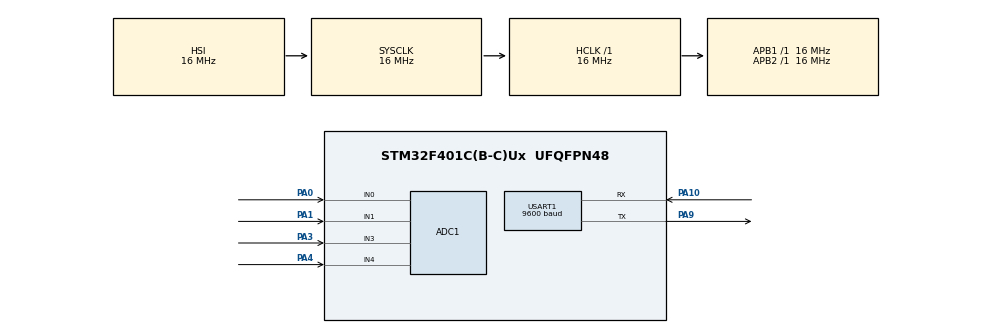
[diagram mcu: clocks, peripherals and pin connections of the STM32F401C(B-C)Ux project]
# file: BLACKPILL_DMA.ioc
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ADC1.Channel-0\#ChannelRegularConversion=ADC_CHANNEL_0
ADC1.Channel-1\#ChannelRegularConversion=ADC_CHANNEL_1
ADC1.Channel-2\#ChannelRegularConversion=ADC_CHANNEL_3
ADC1.Channel-3\#ChannelRegularConversion=ADC_CHANNEL_4
ADC1.NbrOfConversion=4
ADC1.NbrOfConversionFlag=1
ADC1.Rank-0\#ChannelRegularConversion=1
ADC1.Rank-1\#ChannelRegularConversion=2
ADC1.Rank-2\#ChannelRegularConversion=3
ADC1.Rank-3\#ChannelRegularConversion=4
ADC1.SamplingTime-0\#ChannelRegularConversion=ADC_SAMPLETIME_3CYCLES
ADC1.SamplingTime-1\#ChannelRegularConversion=ADC_SAMPLETIME_3CYCLES
ADC1.SamplingTime-2\#ChannelRegularConversion=ADC_SAMPLETIME_3CYCLES
ADC1.SamplingTime-3\#ChannelRegularConversion=ADC_SAMPLETIME_3CYCLES
ADC1.master=1
Dma.ADC1.0.Direction=DMA_PERIPH_TO_MEMORY
Dma.ADC1.0.FIFOMode=DMA_FIFOMODE_DISABLE
Dma.ADC1.0.Instance=DMA2_Stream0
Dma.ADC1.0.MemDataAlignment=DMA_MDATAALIGN_HALFWORD
Dma.ADC1.0.MemInc=DMA_MINC_ENABLE
Dma.ADC1.0.Mode=DMA_CIRCULAR
Dma.ADC1.0.PeriphDataAlignment=DMA_PDATAALIGN_HALFWORD
Dma.ADC1.0.PeriphInc=DMA_PINC_DISABLE
Dma.ADC1.0.Priority=DMA_PRIORITY_LOW
Dma.Request0=ADC1
Mcu.Family=STM32F4
Mcu.Name=STM32F401C(B-C)Ux
Mcu.Package=UFQFPN48
NVIC.DMA2_Stream0_IRQn=true\:0\:0\:false\:false\:true\:false\:true\:true
NVIC.PriorityGroup=NVIC_PRIORITYGROUP_4
PA0-WKUP.Signal=ADCx_IN0
PA1.Signal=ADCx_IN1
PA10.Mode=Asynchronous
PA10.Signal=USART1_RX
PA3.Signal=ADCx_IN3
PA4.Signal=ADCx_IN4
PA9.Mode=Asynchronous
PA9.Signal=USART1_TX
ProjectManager.HeapSize=0x200
ProjectManager.StackSize=0x400
ProjectManager.TargetToolchain=STM32CubeIDE
RCC.AHBFreq_Value=16000000
RCC.APB1Freq_Value=16000000
RCC.APB2Freq_Value=16000000
RCC.CortexFreq_Value=16000000
RCC.HSE_VALUE=25000000
RCC.HSI_VALUE=16000000
RCC.LSE_VALUE=32768
RCC.SYSCLKFreq_VALUE=16000000
RCC.VCOOutputFreq_Value=192000000
SH.ADCx_IN0.0=ADC1_IN0,IN0
SH.ADCx_IN1.0=ADC1_IN1,IN1
SH.ADCx_IN3.0=ADC1_IN3,IN3
SH.ADCx_IN4.0=ADC1_IN4,IN4
USART1.BaudRate=9600
USART1.VirtualMode=VM_ASYNC
board=custom

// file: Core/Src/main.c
/* USER CODE BEGIN Header */
/**
  ******************************************************************************
  * @file           : main.c
  * @brief          : Main program body
  ******************************************************************************
  * @attention
  *
  * Copyright (c) 2023 STMicroelectronics.
  * All rights reserved.
  *
  * This software is licensed under terms that can be found in the LICENSE file
  * in the root directory of this software component.
  * If no LICENSE file comes with this software, it is provided AS-IS.
  *
  ******************************************************************************
  */
/* USER CODE END Header */
#include "main.h"

/* USER CODE BEGIN Includes */
#include "delays.h"
#include "uart.h"

#include "stdio.h"
#include "string.h"

#include "stdint.h"

/* USER CODE END Includes */

ADC_HandleTypeDef hadc1;
DMA_HandleTypeDef hdma_adc1;

UART_HandleTypeDef huart1;

/* USER CODE BEGIN PV */

float voltaje1,voltaje2,voltaje3,voltaje4;
char texto[50];

//DMA ADC

uint16_t adc_buf[4];

/* USER CODE END PV */

void SystemClock_Config(void);
static void MX_GPIO_Init(void);
static void MX_DMA_Init(void);
static void MX_ADC1_Init(void);
static void MX_USART1_UART_Init(void);

int main(void)
{

  /* MCU Configuration--------------------------------------------------------*/

  /* Reset of all peripherals, Initializes the Flash interface and the Systick. */
  HAL_Init();

  /* Configure the system clock */
  SystemClock_Config();

  /* Initialize all configured peripherals */
  MX_GPIO_Init();
  MX_DMA_Init();
  MX_ADC1_Init();
  MX_USART1_UART_Init();
  /* USER CODE BEGIN 2 */
  delay_us_dwt_init();
     uartx_write_text(&huart1, "INICIANDO\r\n");

  /* USER CODE END 2 */

  /* Infinite loop */
  /* USER CODE BEGIN WHILE */
  while (1)
  {
	  HAL_ADC_Start_DMA(&hadc1, adc_buf, 4);//iniCica la conversion
	 HAL_Delay(10);

	 voltaje1=adc_buf[0]*3.3/4095.0;
	 voltaje2=adc_buf[1]*3.3/4095.0;
	 voltaje3=adc_buf[2]*3.3/4095.0;
	 voltaje4=adc_buf[3]*3.3/4095.0;

      sprintf(texto,"V1=%.1f    V2=%.1f  V3=%.1f   V4=%.2f\r\n\r\n",voltaje1,voltaje2,voltaje3,voltaje4);

      uartx_write_text(&huart1, texto);
    HAL_Delay(500);

    /* USER CODE END WHILE */

  }
}

void SystemClock_Config(void)
{
  RCC_OscInitTypeDef RCC_OscInitStruct = {0};
  RCC_ClkInitTypeDef RCC_ClkInitStruct = {0};

  /** Configure the main internal regulator output voltage
  */
  __HAL_RCC_PWR_CLK_ENABLE();
  __HAL_PWR_VOLTAGESCALING_CONFIG(PWR_REGULATOR_VOLTAGE_SCALE2);

  /** Initializes the RCC Oscillators according to the specified parameters
  * in the RCC_OscInitTypeDef structure.
  */
  RCC_OscInitStruct.OscillatorType = RCC_OSCILLATORTYPE_HSI;
  RCC_OscInitStruct.HSIState = RCC_HSI_ON;
  RCC_OscInitStruct.HSICalibrationValue = RCC_HSICALIBRATION_DEFAULT;
  RCC_OscInitStruct.PLL.PLLState = RCC_PLL_NONE;
  if (HAL_RCC_OscConfig(&RCC_OscInitStruct) != HAL_OK)
  {
    Error_Handler();
  }

  /** Initializes the CPU, AHB and APB buses clocks
  */
  RCC_ClkInitStruct.ClockType = RCC_CLOCKTYPE_HCLK|RCC_CLOCKTYPE_SYSCLK
                              |RCC_CLOCKTYPE_PCLK1|RCC_CLOCKTYPE_PCLK2;
  RCC_ClkInitStruct.SYSCLKSource = RCC_SYSCLKSOURCE_HSI;
  RCC_ClkInitStruct.AHBCLKDivider = RCC_SYSCLK_DIV1;
  RCC_ClkInitStruct.APB1CLKDivider = RCC_HCLK_DIV1;
  RCC_ClkInitStruct.APB2CLKDivider = RCC_HCLK_DIV1;

  if (HAL_RCC_ClockConfig(&RCC_ClkInitStruct, FLASH_LATENCY_0) != HAL_OK)
  {
    Error_Handler();
  }
}

static void MX_ADC1_Init(void)
{

  ADC_ChannelConfTypeDef sConfig = {0};

  /** Configure the global features of the ADC (Clock, Resolution, Data Alignment and number of conversion)
  */
  hadc1.Instance = ADC1;
  hadc1.Init.ClockPrescaler = ADC_CLOCK_SYNC_PCLK_DIV2;
  hadc1.Init.Resolution = ADC_RESOLUTION_12B;
  hadc1.Init.ScanConvMode = ENABLE;
  hadc1.Init.ContinuousConvMode = DISABLE;
  hadc1.Init.DiscontinuousConvMode = DISABLE;
  hadc1.Init.ExternalTrigConvEdge = ADC_EXTERNALTRIGCONVEDGE_NONE;
  hadc1.Init.ExternalTrigConv = ADC_SOFTWARE_START;
  hadc1.Init.DataAlign = ADC_DATAALIGN_RIGHT;
  hadc1.Init.NbrOfConversion = 4;
  hadc1.Init.DMAContinuousRequests = DISABLE;
  hadc1.Init.EOCSelection = ADC_EOC_SINGLE_CONV;
  if (HAL_ADC_Init(&hadc1) != HAL_OK)
  {
    Error_Handler();
  }

  /** Configure for the selected ADC regular channel its corresponding rank in the sequencer and its sample time.
  */
  sConfig.Channel = ADC_CHANNEL_0;
  sConfig.Rank = 1;
  sConfig.SamplingTime = ADC_SAMPLETIME_3CYCLES;
  if (HAL_ADC_ConfigChannel(&hadc1, &sConfig) != HAL_OK)
  {
    Error_Handler();
  }

  /** Configure for the selected ADC regular channel its corresponding rank in the sequencer and its sample time.
  */
  sConfig.Channel = ADC_CHANNEL_1;
  sConfig.Rank = 2;
  if (HAL_ADC_ConfigChannel(&hadc1, &sConfig) != HAL_OK)
  {
    Error_Handler();
  }

  /** Configure for the selected ADC regular channel its corresponding rank in the sequencer and its sample time.
  */
  sConfig.Channel = ADC_CHANNEL_3;
  sConfig.Rank = 3;
  if (HAL_ADC_ConfigChannel(&hadc1, &sConfig) != HAL_OK)
  {
    Error_Handler();
  }

  /** Configure for the selected ADC regular channel its corresponding rank in the sequencer and its sample time.
  */
  sConfig.Channel = ADC_CHANNEL_4;
  sConfig.Rank = 4;
  if (HAL_ADC_ConfigChannel(&hadc1, &sConfig) != HAL_OK)
  {
    Error_Handler();
  }

}

static void MX_USART1_UART_Init(void)
{

  huart1.Instance = USART1;
  huart1.Init.BaudRate = 9600;
  huart1.Init.WordLength = UART_WORDLENGTH_8B;
  huart1.Init.StopBits = UART_STOPBITS_1;
  huart1.Init.Parity = UART_PARITY_NONE;
  huart1.Init.Mode = UART_MODE_TX_RX;
  huart1.Init.HwFlowCtl = UART_HWCONTROL_NONE;
  huart1.Init.OverSampling = UART_OVERSAMPLING_16;
  if (HAL_UART_Init(&huart1) != HAL_OK)
  {
    Error_Handler();
  }

}

static void MX_DMA_Init(void)
{

  /* DMA controller clock enable */
  __HAL_RCC_DMA2_CLK_ENABLE();

  /* DMA interrupt init */
  /* DMA2_Stream0_IRQn interrupt configuration */
  HAL_NVIC_SetPriority(DMA2_Stream0_IRQn, 0, 0);
  HAL_NVIC_EnableIRQ(DMA2_Stream0_IRQn);

}

static void MX_GPIO_Init(void)
{

  /* GPIO Ports Clock Enable */
  __HAL_RCC_GPIOA_CLK_ENABLE();

}

void Error_Handler(void)
{
  __disable_irq();
  while (1)
  {
  }
}
